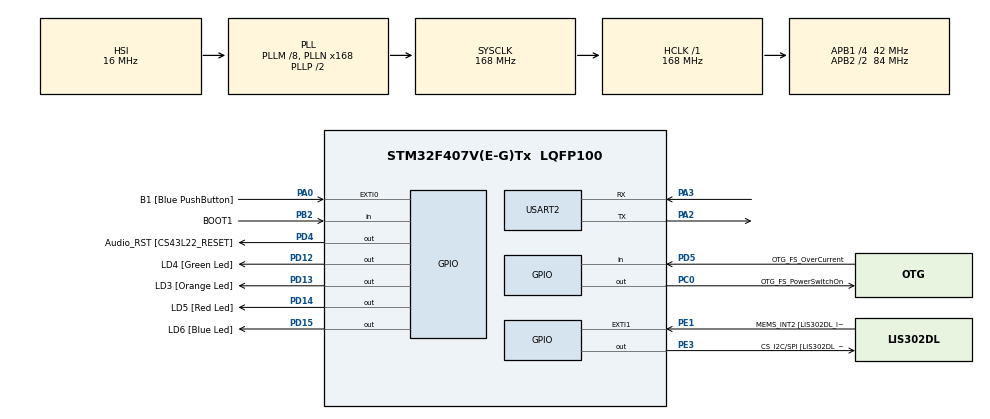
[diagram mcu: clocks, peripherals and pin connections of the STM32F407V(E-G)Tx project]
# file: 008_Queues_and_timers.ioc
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Mcu.Family=STM32F4
Mcu.Name=STM32F407V(E-G)Tx
Mcu.Package=LQFP100
NVIC.PriorityGroup=NVIC_PRIORITYGROUP_4
NVIC.TIM6_DAC_IRQn=true\:15\:0\:false\:false\:true\:false\:true\:true
NVIC.TimeBase=TIM6_DAC_IRQn
NVIC.TimeBaseIP=TIM6
NVIC.USART2_IRQn=true\:6\:0\:true\:false\:true\:true\:true\:true
PA0-WKUP.GPIO_Label=B1 [Blue PushButton]
PA0-WKUP.Signal=GPXTI0
PA10.GPIO_Label=OTG_FS_ID
PA10.GPIO_Mode=GPIO_MODE_AF_PP
PA10.GPIO_PuPd=GPIO_NOPULL
PA10.GPIO_Speed=GPIO_SPEED_FREQ_LOW
PA10.Signal=USB_OTG_FS_ID
PA11.GPIO_Label=OTG_FS_DM
PA11.GPIO_Mode=GPIO_MODE_AF_PP
PA11.GPIO_PuPd=GPIO_NOPULL
PA11.GPIO_Speed=GPIO_SPEED_FREQ_LOW
PA11.Signal=USB_OTG_FS_DM
PA12.GPIO_Label=OTG_FS_DP
PA12.GPIO_Mode=GPIO_MODE_AF_PP
PA12.GPIO_PuPd=GPIO_NOPULL
PA12.GPIO_Speed=GPIO_SPEED_FREQ_LOW
PA12.Signal=USB_OTG_FS_DP
PA13.GPIO_Label=SWDIO
PA13.Signal=SYS_JTMS-SWDIO
PA14.GPIO_Label=SWCLK
PA14.Signal=SYS_JTCK-SWCLK
PA2.Mode=Asynchronous
PA2.Signal=USART2_TX
PA3.Mode=Asynchronous
PA3.Signal=USART2_RX
PA4.GPIO_Label=I2S3_WS [CS43L22_LRCK]
PA4.GPIO_Mode=GPIO_MODE_AF_PP
PA4.GPIO_PuPd=GPIO_NOPULL
PA4.GPIO_Speed=GPIO_SPEED_FREQ_LOW
PA4.Signal=I2S3_WS
PA5.GPIO_Label=SPI1_SCK [LIS302DL_SCL/SPC]
PA5.GPIO_Mode=GPIO_MODE_AF_PP
PA5.GPIO_PuPd=GPIO_NOPULL
PA5.GPIO_Speed=GPIO_SPEED_FREQ_LOW
PA5.Signal=SPI1_SCK
PA6.GPIO_Label=SPI1_MISO [LIS302DL_SDO]
PA6.GPIO_Mode=GPIO_MODE_AF_PP
PA6.GPIO_PuPd=GPIO_NOPULL
PA6.GPIO_Speed=GPIO_SPEED_FREQ_LOW
PA6.Signal=SPI1_MISO
PA7.GPIO_Label=SPI1_MOSI [LIS302DL_SDA/SDI/SDO]
PA7.GPIO_Mode=GPIO_MODE_AF_PP
PA7.GPIO_PuPd=GPIO_NOPULL
PA7.GPIO_Speed=GPIO_SPEED_FREQ_LOW
PA7.Signal=SPI1_MOSI
PA9.GPIO_Label=VBUS_FS
PA9.GPIO_Mode=GPIO_MODE_INPUT
PA9.GPIO_PuPd=GPIO_NOPULL
PA9.Signal=USB_OTG_FS_VBUS
PB10.GPIO_Label=CLK_IN [MP45DT02_CLK]
PB10.GPIO_Mode=GPIO_MODE_AF_PP
PB10.GPIO_PuPd=GPIO_NOPULL
PB10.GPIO_Speed=GPIO_SPEED_FREQ_LOW
PB10.Signal=I2S2_CK
PB2.GPIO_Label=BOOT1
PB2.GPIO_Mode=GPIO_MODE_INPUT
PB2.GPIO_PuPd=GPIO_NOPULL
PB2.Signal=GPIO_Input
PB3.GPIO_Label=SWO
PB3.Signal=SYS_JTDO-SWO
PB6.GPIO_Label=Audio_SCL [CS43L22_SCL]
PB6.GPIO_Mode=GPIO_MODE_AF_OD
PB6.GPIO_PuPd=GPIO_NOPULL
PB6.GPIO_Speed=GPIO_SPEED_FREQ_LOW
PB6.Signal=I2C1_SCL
PB9.GPIO_Label=Audio_SDA [CS43L22_SDA]
PB9.GPIO_Mode=GPIO_MODE_AF_OD
PB9.GPIO_PuPd=GPIO_NOPULL
PB9.GPIO_Speed=GPIO_SPEED_FREQ_LOW
PB9.Signal=I2C1_SDA
PC0.GPIO_Label=OTG_FS_PowerSwitchOn
PC0.GPIO_PuPd=GPIO_NOPULL
PC0.GPIO_Speed=GPIO_SPEED_FREQ_LOW
PC0.PinState=GPIO_PIN_SET
PC0.Signal=GPIO_Output
PC10.GPIO_Label=I2S3_SCK [CS43L22_SCLK]
PC10.GPIO_Mode=GPIO_MODE_AF_PP
PC10.GPIO_PuPd=GPIO_NOPULL
PC10.GPIO_Speed=GPIO_SPEED_FREQ_LOW
PC10.Signal=I2S3_CK
PC12.GPIO_Label=I2S3_SD [CS43L22_SDIN]
PC12.GPIO_Mode=GPIO_MODE_AF_PP
PC12.GPIO_PuPd=GPIO_NOPULL
PC12.GPIO_Speed=GPIO_SPEED_FREQ_LOW
PC12.Signal=I2S3_SD
PC14-OSC32_IN.GPIO_Label=PC14-OSC32_IN
PC14-OSC32_IN.Signal=RCC_OSC32_IN
PC15-OSC32_OUT.GPIO_Label=PC15-OSC32_OUT
PC15-OSC32_OUT.Signal=RCC_OSC32_OUT
PC3.GPIO_Label=PDM_OUT [MP45DT02_DOUT]
PC3.GPIO_Mode=GPIO_MODE_AF_PP
PC3.GPIO_PuPd=GPIO_NOPULL
PC3.GPIO_Speed=GPIO_SPEED_FREQ_LOW
PC3.Signal=I2S2_SD
PC7.GPIO_Label=I2S3_MCK [CS43L22_MCLK]
PC7.GPIO_Mode=GPIO_MODE_AF_PP
PC7.GPIO_PuPd=GPIO_NOPULL
PC7.GPIO_Speed=GPIO_SPEED_FREQ_LOW
PC7.Signal=I2S3_MCK
PD12.GPIO_Label=LD4 [Green Led]
PD12.GPIO_PuPd=GPIO_NOPULL
PD12.GPIO_Speed=GPIO_SPEED_FREQ_LOW
PD12.Signal=GPIO_Output
PD13.GPIO_Label=LD3 [Orange Led]
PD13.GPIO_PuPd=GPIO_NOPULL
PD13.GPIO_Speed=GPIO_SPEED_FREQ_LOW
PD13.Signal=GPIO_Output
PD14.GPIO_Label=LD5 [Red Led]
PD14.GPIO_PuPd=GPIO_NOPULL
PD14.GPIO_Speed=GPIO_SPEED_FREQ_LOW
PD14.Signal=GPIO_Output
PD15.GPIO_Label=LD6 [Blue Led]
PD15.GPIO_PuPd=GPIO_NOPULL
PD15.GPIO_Speed=GPIO_SPEED_FREQ_LOW
PD15.Signal=GPIO_Output
PD4.GPIO_Label=Audio_RST [CS43L22_RESET]
PD4.GPIO_PuPd=GPIO_NOPULL
PD4.GPIO_Speed=GPIO_SPEED_FREQ_LOW
PD4.Signal=GPIO_Output
PD5.GPIO_Label=OTG_FS_OverCurrent
PD5.GPIO_Mode=GPIO_MODE_INPUT
PD5.GPIO_PuPd=GPIO_NOPULL
PD5.Signal=GPIO_Input
PE1.GPIO_Label=MEMS_INT2 [LIS302DL_INT2]
PE1.GPIO_ModeDefaultEXTI=GPIO_MODE_EVT_RISING
PE1.GPIO_PuPd=GPIO_NOPULL
PE1.Signal=GPXTI1
PE3.GPIO_Label=CS_I2C/SPI [LIS302DL_CS_I2C/SPI]
PE3.GPIO_PuPd=GPIO_NOPULL
PE3.GPIO_Speed=GPIO_SPEED_FREQ_LOW
PE3.Signal=GPIO_Output
PH0-OSC_IN.GPIO_Label=PH0-OSC_IN
PH0-OSC_IN.Signal=RCC_OSC_IN
PH1-OSC_OUT.GPIO_Label=PH1-OSC_OUT
PH1-OSC_OUT.Signal=RCC_OSC_OUT
ProjectManager.HeapSize=0x200
ProjectManager.StackSize=0x400
ProjectManager.TargetToolchain=STM32CubeIDE
RCC.48MHZClocksFreq_Value=48000000
RCC.AHBFreq_Value=168000000
RCC.APB1CLKDivider=RCC_HCLK_DIV4
RCC.APB1Freq_Value=42000000
RCC.APB1TimFreq_Value=84000000
RCC.APB2CLKDivider=RCC_HCLK_DIV2
RCC.APB2Freq_Value=84000000
RCC.APB2TimFreq_Value=168000000
RCC.CortexFreq_Value=168000000
RCC.HCLKFreq_Value=168000000
RCC.HSE_VALUE=8000000
RCC.HSI_VALUE=16000000
RCC.LSE_VALUE=32768
RCC.PLLM=8
RCC.PLLN=168
RCC.PLLQ=7
RCC.SYSCLKFreq_VALUE=168000000
RCC.SYSCLKSource=RCC_SYSCLKSOURCE_PLLCLK
RCC.VCOOutputFreq_Value=336000000
RTC.HourFormat=RTC_HOURFORMAT_12
USART2.VirtualMode=VM_ASYNC
VP_RTC_VS_RTC_Activate.Mode=RTC_Enabled
VP_SYS_VS_tim6.Mode=TIM6
board=STM32F407G-DISC1

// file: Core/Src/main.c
/* USER CODE BEGIN Header */
/**
  ******************************************************************************
  * @file           : main.c
  * @brief          : Main program body
  ******************************************************************************
  * @attention
  *
  * Copyright (c) 2024 STMicroelectronics.
  * All rights reserved.
  *
  * This software is licensed under terms that can be found in the LICENSE file
  * in the root directory of this software component.
  * If no LICENSE file comes with this software, it is provided AS-IS.
  *
  ******************************************************************************
  */
/* USER CODE END Header */
#include "main.h"

/* USER CODE BEGIN PM */
//#define DWT_CTRL	(*(volatile uint32_t*)0xE0001000)
//extern void SEGGER_UART_init(uint32_t);
/* USER CODE END PM */

RTC_HandleTypeDef hrtc;

UART_HandleTypeDef huart2;

/* USER CODE BEGIN PV */
xTaskHandle handle_menu_task;
xTaskHandle handle_cmd_task;
xTaskHandle handle_print_task;
xTaskHandle handle_led_task;
xTaskHandle handle_rtc_task;

QueueHandle_t q_data;
QueueHandle_t q_print;

//Software timer handle
volatile uint8_t user_data;

TimerHandle_t handle_led_timer[4];

TimerHandle_t rtc_timer;

//state variable
state_t curr_state = sMainMenu;

/* USER CODE END PV */

void SystemClock_Config(void);
static void MX_GPIO_Init(void);
static void MX_RTC_Init(void);
static void MX_USART2_UART_Init(void);

int main(void)
{

  /* USER CODE BEGIN 1 */
	BaseType_t status;
  /* USER CODE END 1 */

  /* MCU Configuration--------------------------------------------------------*/

  /* Reset of all peripherals, Initializes the Flash interface and the Systick. */
	HAL_Init();

  /* Configure the system clock */
  SystemClock_Config();

  /* Initialize all configured peripherals */
  MX_GPIO_Init();
  MX_RTC_Init();
  MX_USART2_UART_Init();
//
//  SEGGER_UART_init(250000);
//
//  //Enable the CYCCNT counter
//    DWT_CTRL |= (1 << 0);
//
//    SEGGER_SYSVIEW_Conf();
  /* USER CODE BEGIN 2 */

	status = xTaskCreate(menu_task, "menu_task", 250, NULL, 2, &handle_menu_task);
	configASSERT(status == pdPASS);

	status = xTaskCreate(cmd_handler_task, "cmd_task", 250, NULL, 2, &handle_cmd_task);
	configASSERT(status == pdPASS);

	status = xTaskCreate(print_task, "print_task", 250, NULL, 2, &handle_print_task);
	configASSERT(status == pdPASS);

	status = xTaskCreate(led_task, "led_task", 250, NULL, 2, &handle_led_task);
	configASSERT(status == pdPASS);

	status = xTaskCreate(rtc_task, "rtc_task", 250, NULL, 2, &handle_rtc_task);
	configASSERT(status == pdPASS);

	q_data = xQueueCreate(10, sizeof(char));
	configASSERT(q_data != NULL);

	q_print = xQueueCreate(10, sizeof(size_t));
	configASSERT(q_print != NULL);

	//Create software timer
	for(uint8_t i = 0; i < 4; i++)
		handle_led_timer[i] = xTimerCreate("led_timer", pdMS_TO_TICKS(500), pdTRUE, (void*)(i+1), led_effect_callback);

	rtc_timer = xTimerCreate("rtc_timer", pdMS_TO_TICKS(1000), pdTRUE, NULL, rtc_report_callback);

	HAL_UART_Receive_IT(&huart2, (uint8_t*)&user_data, 1);

	vTaskStartScheduler();

  /* USER CODE END 2 */

  /* Infinite loop */
  while (1)
  {

  }
}

void SystemClock_Config(void)
{
  RCC_OscInitTypeDef RCC_OscInitStruct = {0};
  RCC_ClkInitTypeDef RCC_ClkInitStruct = {0};

  /** Configure the main internal regulator output voltage
  */
  __HAL_RCC_PWR_CLK_ENABLE();
  __HAL_PWR_VOLTAGESCALING_CONFIG(PWR_REGULATOR_VOLTAGE_SCALE1);

  /** Initializes the RCC Oscillators according to the specified parameters
  * in the RCC_OscInitTypeDef structure.
  */
  RCC_OscInitStruct.OscillatorType = RCC_OSCILLATORTYPE_HSI|RCC_OSCILLATORTYPE_LSI;
  RCC_OscInitStruct.HSIState = RCC_HSI_ON;
  RCC_OscInitStruct.HSICalibrationValue = RCC_HSICALIBRATION_DEFAULT;
  RCC_OscInitStruct.LSIState = RCC_LSI_ON;
  RCC_OscInitStruct.PLL.PLLState = RCC_PLL_ON;
  RCC_OscInitStruct.PLL.PLLSource = RCC_PLLSOURCE_HSI;
  RCC_OscInitStruct.PLL.PLLM = 8;
  RCC_OscInitStruct.PLL.PLLN = 168;
  RCC_OscInitStruct.PLL.PLLP = RCC_PLLP_DIV2;
  RCC_OscInitStruct.PLL.PLLQ = 7;
  if (HAL_RCC_OscConfig(&RCC_OscInitStruct) != HAL_OK)
  {
    Error_Handler();
  }

  /** Initializes the CPU, AHB and APB buses clocks
  */
  RCC_ClkInitStruct.ClockType = RCC_CLOCKTYPE_HCLK|RCC_CLOCKTYPE_SYSCLK
                              |RCC_CLOCKTYPE_PCLK1|RCC_CLOCKTYPE_PCLK2;
  RCC_ClkInitStruct.SYSCLKSource = RCC_SYSCLKSOURCE_PLLCLK;
  RCC_ClkInitStruct.AHBCLKDivider = RCC_SYSCLK_DIV1;
  RCC_ClkInitStruct.APB1CLKDivider = RCC_HCLK_DIV4;
  RCC_ClkInitStruct.APB2CLKDivider = RCC_HCLK_DIV2;

  if (HAL_RCC_ClockConfig(&RCC_ClkInitStruct, FLASH_LATENCY_5) != HAL_OK)
  {
    Error_Handler();
  }
}

static void MX_RTC_Init(void)
{

  /** Initialize RTC Only
  */
  hrtc.Instance = RTC;
  hrtc.Init.HourFormat = RTC_HOURFORMAT_12;
  hrtc.Init.AsynchPrediv = 127;
  hrtc.Init.SynchPrediv = 255;
  hrtc.Init.OutPut = RTC_OUTPUT_DISABLE;
  hrtc.Init.OutPutPolarity = RTC_OUTPUT_POLARITY_HIGH;
  hrtc.Init.OutPutType = RTC_OUTPUT_TYPE_OPENDRAIN;
  if (HAL_RTC_Init(&hrtc) != HAL_OK)
  {
    Error_Handler();
  }

}

static void MX_USART2_UART_Init(void)
{

  huart2.Instance = USART2;
  huart2.Init.BaudRate = 115200;
  huart2.Init.WordLength = UART_WORDLENGTH_8B;
  huart2.Init.StopBits = UART_STOPBITS_1;
  huart2.Init.Parity = UART_PARITY_NONE;
  huart2.Init.Mode = UART_MODE_TX_RX;
  huart2.Init.HwFlowCtl = UART_HWCONTROL_NONE;
  huart2.Init.OverSampling = UART_OVERSAMPLING_16;
  if (HAL_UART_Init(&huart2) != HAL_OK)
  {
    Error_Handler();
  }

}

static void MX_GPIO_Init(void)
{
  GPIO_InitTypeDef GPIO_InitStruct = {0};

  /* GPIO Ports Clock Enable */
  __HAL_RCC_GPIOE_CLK_ENABLE();
  __HAL_RCC_GPIOC_CLK_ENABLE();
  __HAL_RCC_GPIOH_CLK_ENABLE();
  __HAL_RCC_GPIOA_CLK_ENABLE();
  __HAL_RCC_GPIOB_CLK_ENABLE();
  __HAL_RCC_GPIOD_CLK_ENABLE();

  /*Configure GPIO pin Output Level */
  HAL_GPIO_WritePin(CS_I2C_SPI_GPIO_Port, CS_I2C_SPI_Pin, GPIO_PIN_RESET);

  /*Configure GPIO pin Output Level */
  HAL_GPIO_WritePin(OTG_FS_PowerSwitchOn_GPIO_Port, OTG_FS_PowerSwitchOn_Pin, GPIO_PIN_SET);

  /*Configure GPIO pin Output Level */
  HAL_GPIO_WritePin(GPIOD, LD4_Pin|LD3_Pin|LD5_Pin|LD6_Pin
                          |Audio_RST_Pin, GPIO_PIN_RESET);

  /*Configure GPIO pin : CS_I2C_SPI_Pin */
  GPIO_InitStruct.Pin = CS_I2C_SPI_Pin;
  GPIO_InitStruct.Mode = GPIO_MODE_OUTPUT_PP;
  GPIO_InitStruct.Pull = GPIO_NOPULL;
  GPIO_InitStruct.Speed = GPIO_SPEED_FREQ_LOW;
  HAL_GPIO_Init(CS_I2C_SPI_GPIO_Port, &GPIO_InitStruct);

  /*Configure GPIO pin : OTG_FS_PowerSwitchOn_Pin */
  GPIO_InitStruct.Pin = OTG_FS_PowerSwitchOn_Pin;
  GPIO_InitStruct.Mode = GPIO_MODE_OUTPUT_PP;
  GPIO_InitStruct.Pull = GPIO_NOPULL;
  GPIO_InitStruct.Speed = GPIO_SPEED_FREQ_LOW;
  HAL_GPIO_Init(OTG_FS_PowerSwitchOn_GPIO_Port, &GPIO_InitStruct);

  /*Configure GPIO pin : PDM_OUT_Pin */
  GPIO_InitStruct.Pin = PDM_OUT_Pin;
  GPIO_InitStruct.Mode = GPIO_MODE_AF_PP;
  GPIO_InitStruct.Pull = GPIO_NOPULL;
  GPIO_InitStruct.Speed = GPIO_SPEED_FREQ_LOW;
  GPIO_InitStruct.Alternate = GPIO_AF5_SPI2;
  HAL_GPIO_Init(PDM_OUT_GPIO_Port, &GPIO_InitStruct);

  /*Configure GPIO pin : B1_Pin */
  GPIO_InitStruct.Pin = B1_Pin;
  GPIO_InitStruct.Mode = GPIO_MODE_IT_RISING;
  GPIO_InitStruct.Pull = GPIO_NOPULL;
  HAL_GPIO_Init(B1_GPIO_Port, &GPIO_InitStruct);

  /*Configure GPIO pin : I2S3_WS_Pin */
  GPIO_InitStruct.Pin = I2S3_WS_Pin;
  GPIO_InitStruct.Mode = GPIO_MODE_AF_PP;
  GPIO_InitStruct.Pull = GPIO_NOPULL;
  GPIO_InitStruct.Speed = GPIO_SPEED_FREQ_LOW;
  GPIO_InitStruct.Alternate = GPIO_AF6_SPI3;
  HAL_GPIO_Init(I2S3_WS_GPIO_Port, &GPIO_InitStruct);

  /*Configure GPIO pins : SPI1_SCK_Pin SPI1_MISO_Pin SPI1_MOSI_Pin */
  GPIO_InitStruct.Pin = SPI1_SCK_Pin|SPI1_MISO_Pin|SPI1_MOSI_Pin;
  GPIO_InitStruct.Mode = GPIO_MODE_AF_PP;
  GPIO_InitStruct.Pull = GPIO_NOPULL;
  GPIO_InitStruct.Speed = GPIO_SPEED_FREQ_LOW;
  GPIO_InitStruct.Alternate = GPIO_AF5_SPI1;
  HAL_GPIO_Init(GPIOA, &GPIO_InitStruct);

  /*Configure GPIO pin : BOOT1_Pin */
  GPIO_InitStruct.Pin = BOOT1_Pin;
  GPIO_InitStruct.Mode = GPIO_MODE_INPUT;
  GPIO_InitStruct.Pull = GPIO_NOPULL;
  HAL_GPIO_Init(BOOT1_GPIO_Port, &GPIO_InitStruct);

  /*Configure GPIO pin : CLK_IN_Pin */
  GPIO_InitStruct.Pin = CLK_IN_Pin;
  GPIO_InitStruct.Mode = GPIO_MODE_AF_PP;
  GPIO_InitStruct.Pull = GPIO_NOPULL;
  GPIO_InitStruct.Speed = GPIO_SPEED_FREQ_LOW;
  GPIO_InitStruct.Alternate = GPIO_AF5_SPI2;
  HAL_GPIO_Init(CLK_IN_GPIO_Port, &GPIO_InitStruct);

  /*Configure GPIO pins : LD4_Pin LD3_Pin LD5_Pin LD6_Pin
                           Audio_RST_Pin */
  GPIO_InitStruct.Pin = LD4_Pin|LD3_Pin|LD5_Pin|LD6_Pin
                          |Audio_RST_Pin;
  GPIO_InitStruct.Mode = GPIO_MODE_OUTPUT_PP;
  GPIO_InitStruct.Pull = GPIO_NOPULL;
  GPIO_InitStruct.Speed = GPIO_SPEED_FREQ_LOW;
  HAL_GPIO_Init(GPIOD, &GPIO_InitStruct);

  /*Configure GPIO pins : I2S3_MCK_Pin I2S3_SCK_Pin I2S3_SD_Pin */
  GPIO_InitStruct.Pin = I2S3_MCK_Pin|I2S3_SCK_Pin|I2S3_SD_Pin;
  GPIO_InitStruct.Mode = GPIO_MODE_AF_PP;
  GPIO_InitStruct.Pull = GPIO_NOPULL;
  GPIO_InitStruct.Speed = GPIO_SPEED_FREQ_LOW;
  GPIO_InitStruct.Alternate = GPIO_AF6_SPI3;
  HAL_GPIO_Init(GPIOC, &GPIO_InitStruct);

  /*Configure GPIO pin : VBUS_FS_Pin */
  GPIO_InitStruct.Pin = VBUS_FS_Pin;
  GPIO_InitStruct.Mode = GPIO_MODE_INPUT;
  GPIO_InitStruct.Pull = GPIO_NOPULL;
  HAL_GPIO_Init(VBUS_FS_GPIO_Port, &GPIO_InitStruct);

  /*Configure GPIO pins : OTG_FS_ID_Pin OTG_FS_DM_Pin OTG_FS_DP_Pin */
  GPIO_InitStruct.Pin = OTG_FS_ID_Pin|OTG_FS_DM_Pin|OTG_FS_DP_Pin;
  GPIO_InitStruct.Mode = GPIO_MODE_AF_PP;
  GPIO_InitStruct.Pull = GPIO_NOPULL;
  GPIO_InitStruct.Speed = GPIO_SPEED_FREQ_LOW;
  GPIO_InitStruct.Alternate = GPIO_AF10_OTG_FS;
  HAL_GPIO_Init(GPIOA, &GPIO_InitStruct);

  /*Configure GPIO pin : OTG_FS_OverCurrent_Pin */
  GPIO_InitStruct.Pin = OTG_FS_OverCurrent_Pin;
  GPIO_InitStruct.Mode = GPIO_MODE_INPUT;
  GPIO_InitStruct.Pull = GPIO_NOPULL;
  HAL_GPIO_Init(OTG_FS_OverCurrent_GPIO_Port, &GPIO_InitStruct);

  /*Configure GPIO pins : Audio_SCL_Pin Audio_SDA_Pin */
  GPIO_InitStruct.Pin = Audio_SCL_Pin|Audio_SDA_Pin;
  GPIO_InitStruct.Mode = GPIO_MODE_AF_OD;
  GPIO_InitStruct.Pull = GPIO_NOPULL;
  GPIO_InitStruct.Speed = GPIO_SPEED_FREQ_LOW;
  GPIO_InitStruct.Alternate = GPIO_AF4_I2C1;
  HAL_GPIO_Init(GPIOB, &GPIO_InitStruct);

  /*Configure GPIO pin : MEMS_INT2_Pin */
  GPIO_InitStruct.Pin = MEMS_INT2_Pin;
  GPIO_InitStruct.Mode = GPIO_MODE_EVT_RISING;
  GPIO_InitStruct.Pull = GPIO_NOPULL;
  HAL_GPIO_Init(MEMS_INT2_GPIO_Port, &GPIO_InitStruct);

}

/* USER CODE BEGIN 4 */
void rtc_report_callback(TimerHandle_t xTimer)
{
	show_time_date_itm();
}

void led_effect_callback(TimerHandle_t xTimer)
{
	uint32_t id;

	id = (uint32_t)pvTimerGetTimerID(xTimer);

	switch (id)
	{
		case 1:
			LED_effect1();
			break;
		case 2:
			LED_effect2();
			break;
		case 3:
			LED_effect3();
			break;
		case 4:
			LED_effect4();
			break;
	}
}

void HAL_UART_RxCpltCallback(UART_HandleTypeDef *huart)
{
	uint8_t dummy;

	/*check : is queue full ? */
	if(!(xQueueIsQueueFullFromISR(q_data) == pdTRUE))
	{
		/*Queue is not full */
		/*Enqueue data byte */
		xQueueSendFromISR(q_data, (void*)&user_data, NULL);

	}else{
		/*Queue is full */
		if(user_data == '\n')
		{
			/*user_data = '\n' */
			/*make sure that last data byte of the queue is '\n' */
			xQueueReceiveFromISR(q_data, (void*)&dummy, NULL);
			xQueueSendFromISR(q_data, (void*)&user_data, NULL);
		}
	}

	/*send notification to command handling task if user_data = '\n' */
	if( user_data == '\n' ){
		/*send notification to command handling task */
		xTaskNotifyFromISR (handle_cmd_task, 0, eNoAction, NULL);
	}

	/*Enable UART data byte reception again in IT mode */
	HAL_UART_Receive_IT(&huart2, (uint8_t*)&user_data, 1);

}

/* USER CODE END 4 */

void HAL_TIM_PeriodElapsedCallback(TIM_HandleTypeDef *htim)
{
  if (htim->Instance == TIM6) {
    HAL_IncTick();
  }
}

void Error_Handler(void)
{
  __disable_irq();
  while (1)
  {
  }
}
